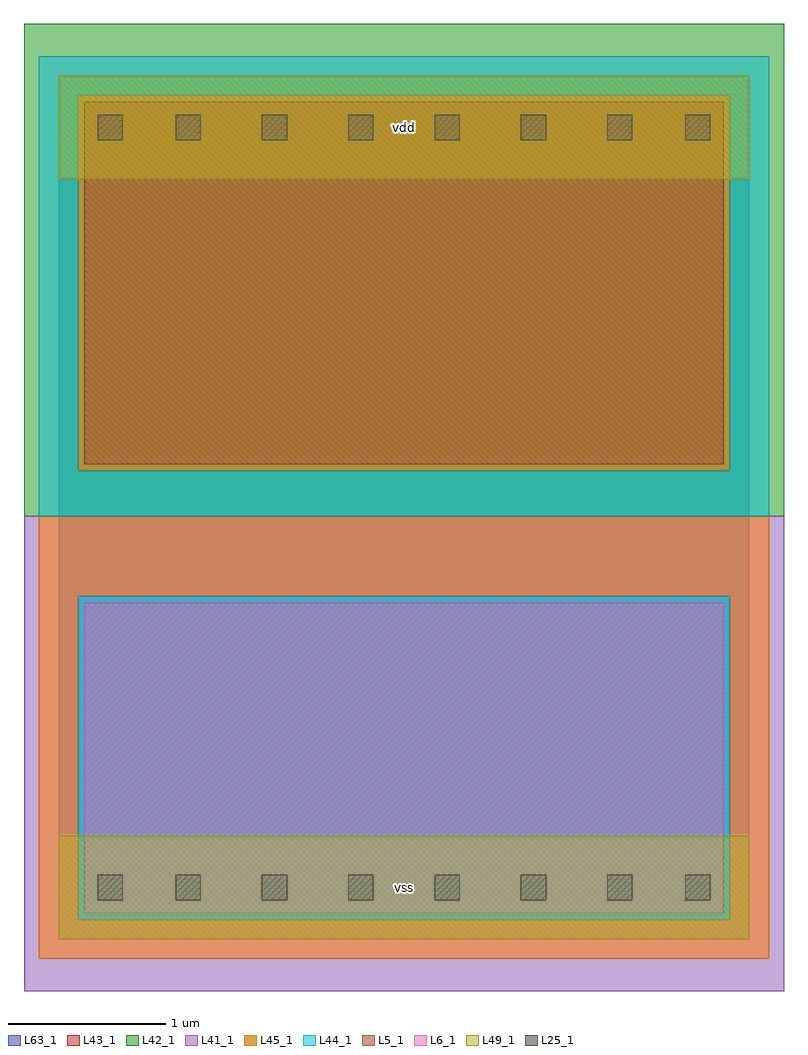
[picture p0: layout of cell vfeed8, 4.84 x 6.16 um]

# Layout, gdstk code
import gdstk
lib = gdstk.Library(unit=1e-6, precision=1e-09)
def R(c, l, rs):  # rectangles x0, y0, x1, y1
    for r in rs: c.add(gdstk.rectangle(r[:2], r[2:], *l))
def A(c, l, x, y, w, h, nx, ny, dx, dy):  # array of equal rectangles
    R(c, l, [(x+i*dx, y+j*dy, x+i*dx+w, y+j*dy+h) for i in range(nx) for j in range(ny)])
L5_1 = (5, 1)
L6_1 = (6, 1)
L25_1 = (25, 1)
L41_1 = (41, 1)
L42_1 = (42, 1)
L43_1 = (43, 1)
L44_1 = (44, 1)
L45_1 = (45, 1)
L49_1 = (49, 1)
L63_1 = (63, 1)

vfeed8 = lib.new_cell('vfeed8')
R(vfeed8, L5_1, [(0.165,3.025,4.235,5.335)])
R(vfeed8, L6_1, [(0.165,0.165,4.235,2.145)])
A(vfeed8, L25_1, 0.745, 0.25, 0.16, 0.16, 6, 2, 0.55, 4.84)
R(vfeed8, L25_1, [(0.25,0.25,0.41,0.41), (3.99,0.25,4.15,0.41), (0.25,5.09,0.41,5.25), (3.99,5.09,4.15,5.25)])
R(vfeed8, L41_1, [(-0.22,-0.33,4.62,2.695)])
R(vfeed8, L42_1, [(-0.22,2.695,4.62,5.83)])
R(vfeed8, L43_1, [(0.165,0.165,4.235,2.145), (0.165,3.025,4.235,5.335)])
R(vfeed8, L44_1, [(0.125,0.125,4.275,2.185), (-0.125,2.695,4.525,2.985), (-0.125,2.985,0.125,5.375), (4.275,2.985,4.525,5.375), (-0.125,5.375,4.525,5.625)])
R(vfeed8, L45_1, [(-0.125,-0.125,4.525,0.125), (-0.125,0.125,0.125,2.185), (4.275,0.125,4.525,2.185), (-0.125,2.185,4.525,2.695), (0.125,2.985,4.275,5.375)])
R(vfeed8, L49_1, [(0,0,4.4,0.66), (0,4.84,4.4,5.5)])
R(vfeed8, L63_1, [(0,0,4.4,5.5)])
vfeed8.add(gdstk.Label('vss', (2.2,0.33), layer=49, texttype=1))
vfeed8.add(gdstk.Label('vss', (2.2,0.33), layer=49, texttype=1))
vfeed8.add(gdstk.Label('vdd', (2.2,5.17), layer=49, texttype=1))
vfeed8.add(gdstk.Label('vdd', (2.2,5.17), layer=49, texttype=1))

lib.write_gds('vfeed8.gds')
